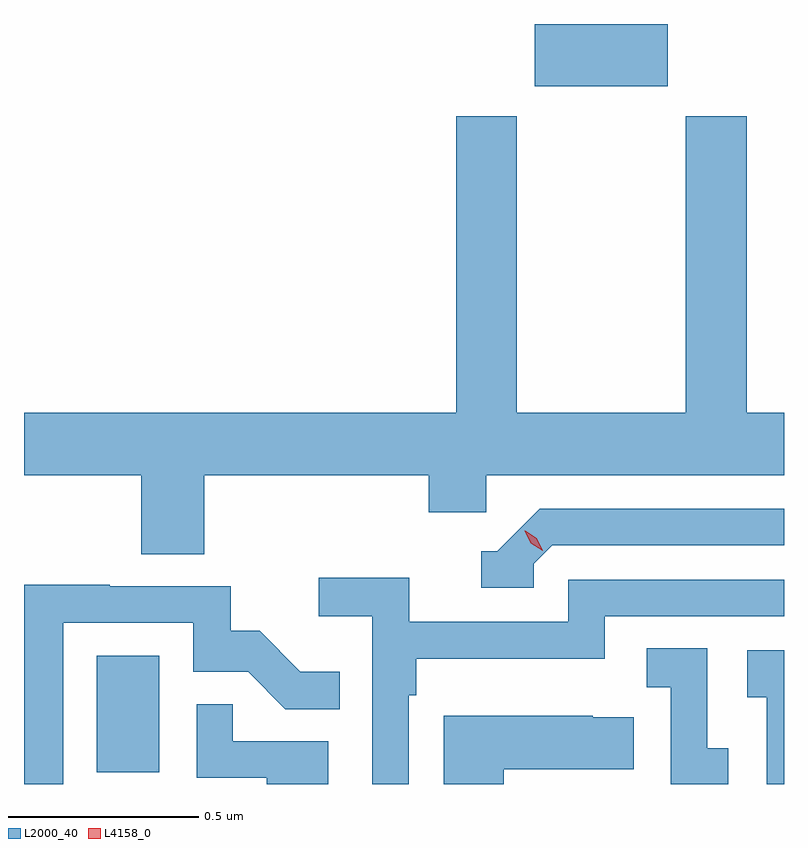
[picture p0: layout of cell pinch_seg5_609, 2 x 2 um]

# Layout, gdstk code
import gdstk
lib = gdstk.Library(unit=1e-6, precision=1e-09)
def R(c, l, rs):  # rectangles x0, y0, x1, y1
    for r in rs: c.add(gdstk.rectangle(r[:2], r[2:], *l))
def P(c, l, *ps):  # polygons
    for p in ps: c.add(gdstk.Polygon(p, *l))
L2000_40 = (2000, 40)
L4158_0 = (4158, 0)

pinch_seg5_609 = lib.new_cell('pinch_seg5_609')
R(pinch_seg5_609, L2000_40, [(1097.276,857.31,1097.44,857.617), (1098.428,859.115,1098.778,859.279)])
P(pinch_seg5_609, L2000_40, [(1097.558,858.092),(1098.149,858.092),(1098.149,857.994),(1098.3,857.994),(1098.3,858.092),(1099.084,858.092),(1099.084,858.256),(1098.986,858.256),(1098.986,859.036),(1098.826,859.036),(1098.826,858.256),(1098.381,858.256),(1098.381,859.036),(1098.221,859.036),(1098.221,858.256),(1097.084,858.256),(1097.084,858.092),(1097.393,858.092),(1097.393,857.884),(1097.558,857.884)],
  [(1098.426,857.859),(1098.474,857.907),(1099.084,857.907),(1099.084,858.003),(1098.441,858.003),(1098.33,857.892),(1098.287,857.892),(1098.287,857.796),(1098.426,857.796)],
  [(1098.096,857.513),(1098.116,857.513),(1098.116,857.609),(1098.612,857.609),(1098.612,857.721),(1099.084,857.721),(1099.084,857.817),(1098.516,857.817),(1098.516,857.706),(1098.098,857.706),(1098.098,857.822),(1097.859,857.822),(1097.859,857.72),(1098,857.72),(1098,857.279),(1098.096,857.279)],
  [(1097.187,857.703),(1097.529,857.703),(1097.529,857.574),(1097.674,857.574),(1097.772,857.476),(1097.915,857.476),(1097.915,857.575),(1097.811,857.575),(1097.704,857.682),(1097.628,857.682),(1097.628,857.799),(1097.309,857.799),(1097.309,857.804),(1097.084,857.804),(1097.084,857.279),(1097.187,857.279)],
  [(1098.937,857.373),(1098.882,857.373),(1098.882,857.636),(1098.723,857.636),(1098.723,857.533),(1098.786,857.533),(1098.786,857.279),(1098.937,857.279)],
  [(1099.084,857.631),(1098.987,857.631),(1098.987,857.507),(1099.038,857.507),(1099.038,857.279),(1099.084,857.279)],
  [(1097.884,857.391),(1097.633,857.391),(1097.633,857.489),(1097.538,857.489),(1097.538,857.295),(1097.723,857.295),(1097.723,857.279),(1097.884,857.279)],
  [(1098.346,857.318),(1098.689,857.318),(1098.689,857.455),(1098.581,857.455),(1098.581,857.458),(1098.188,857.458),(1098.188,857.279),(1098.346,857.279)])
P(pinch_seg5_609, L4158_0, [(1098.449,857.893),(1098.418,857.912),(1098.402,857.944),(1098.402,857.945),(1098.403,857.945),(1098.433,857.926),(1098.449,857.893),(1098.449,857.893)])

lib.write_gds('pinch_seg5_609.gds')
